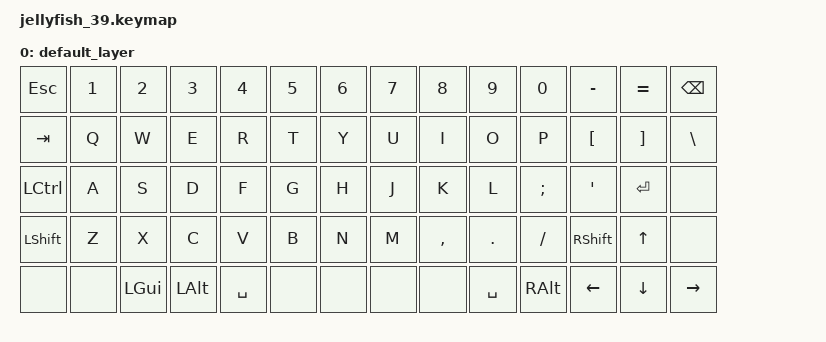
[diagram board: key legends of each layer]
// This file was generated from a template. Edit it to match your keyboard.
// See https://zmk.dev/docs/development/hardware-integration/new-shield for more instructions.

#include <behaviors.dtsi>
#include <dt-bindings/zmk/keys.h>
#include <dt-bindings/zmk/bt.h>

/ {
    keymap {
        compatible = "zmk,keymap";

        default_layer {
            bindings = <
// 左手(7列)                                            右手(7列)
&kp ESC   &kp N1 &kp N2 &kp N3 &kp N4 &kp N5 &kp N6    &kp N7 &kp N8 &kp N9 &kp N0 &kp MINUS &kp EQUAL &kp BSPC
&kp TAB   &kp Q  &kp W  &kp E  &kp R  &kp T  &kp Y     &kp U  &kp I  &kp O  &kp P  &kp LBKT  &kp RBKT  &kp BSLH
&kp LCTRL &kp A  &kp S  &kp D  &kp F  &kp G  &kp H     &kp J  &kp K  &kp L  &kp SEMI &kp SQT &kp ENTER &none
&kp LSHFT &kp Z  &kp X  &kp C  &kp V  &kp B  &kp N     &kp M  &kp COMMA &kp DOT &kp FSLH &kp RSHFT &kp UP &none
&none     &none  &kp LGUI &kp LALT &kp SPACE &none &none    &none &none &kp SPACE &kp RALT &kp LEFT &kp DOWN &kp RIGHT
            >;
        };
    };
};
